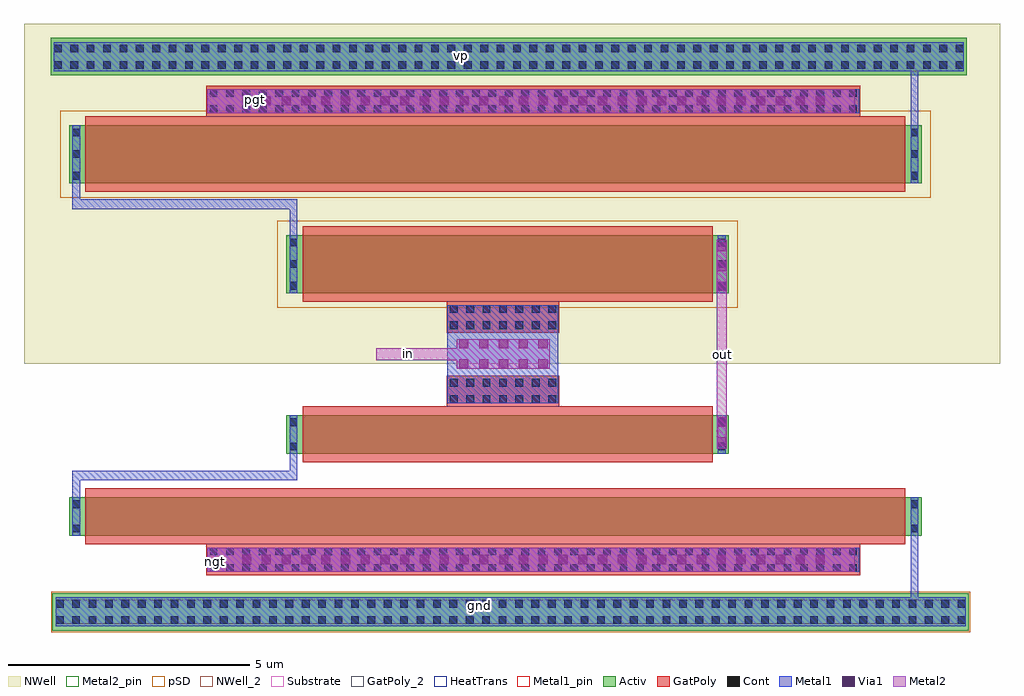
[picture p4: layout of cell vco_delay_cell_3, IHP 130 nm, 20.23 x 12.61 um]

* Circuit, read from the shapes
.subckt vco_delay_cell_3 gnd in ngt out pgt vp
XM1 gnd ngt n1 gnd sg13_lv_nmos w=0.8u l=17u
XM2 out in n1 gnd sg13_lv_nmos w=0.8u l=8.5u
XM3 vp pgt n2 vp sg13_lv_pmos w=1.2u l=17u
XM4 out in n2 vp sg13_lv_pmos w=1.2u l=8.5u
.ends

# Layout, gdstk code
from math import pi, radians
import gdstk
lib = gdstk.Library(unit=1e-6, precision=1e-09)
def R(c, l, rs):  # rectangles x0, y0, x1, y1
    for r in rs: c.add(gdstk.rectangle(r[:2], r[2:], *l))
def A(c, l, x, y, w, h, nx, ny, dx, dy):  # array of equal rectangles
    R(c, l, [(x+i*dx, y+j*dy, x+i*dx+w, y+j*dy+h) for i in range(nx) for j in range(ny)])
Activ = (1, 0)
GatPoly = (5, 0)
GatPoly_2 = (5, 2)
Cont = (6, 0)
Metal1 = (8, 0)
Metal1_pin = (8, 2)
Metal2 = (10, 0)
Metal2_pin = (10, 2)
pSD = (14, 0)
Via1 = (19, 0)
NWell = (31, 0)
NWell_2 = (31, 2)
Substrate = (40, 0)
HeatTrans = (51, 0)

nmos_6 = lib.new_cell('nmos$6')
R(nmos_6, Activ, [(0,0,0.3,0.3), (0,0,17.68,0.8), (17.38,0,17.68,0.3)])
R(nmos_6, GatPoly, [(0.34,-0.18,17.34,0.98)])
R(nmos_6, GatPoly_2, [(0.34,-0.18,17.34,0.98)])
R(nmos_6, Cont, [(0.07,0.07,0.23,0.23), (17.45,0.07,17.61,0.23), (0.07,0.57,0.23,0.73), (17.45,0.57,17.61,0.73)])
R(nmos_6, Metal1, [(0.07,0,0.23,0.8), (17.45,0,17.61,0.8)])
R(nmos_6, Metal1_pin, [(0.07,0,0.23,0.8), (17.45,0,17.61,0.8)])
R(nmos_6, HeatTrans, [(0.34,-0.18,17.34,0.98)])
nmos_6.add(gdstk.Label('nmos', (8.84,0.4), layer=63, texttype=0))
nmos_6.add(gdstk.Label('nmos', (8.84,0.4), layer=51, texttype=0))

via_7 = lib.new_cell('Via$7')
R(via_7, Metal1, [(-0.555,-0.105,0.555,0.105)])
R(via_7, Metal2, [(-0.555,-0.1,0.555,0.1)])
A(via_7, Via1, -0.505, -0.095, 0.19, 0.19, 3, 1, 0.41, 0)

via = lib.new_cell('Via')
R(via, GatPoly, [(-6.78,-0.32,6.78,0.32)])
A(via, Cont, -6.71, -0.25, 0.16, 0.16, 40, 2, 0.34, 0.34)
R(via, Metal1, [(-6.76,-0.25,6.76,0.25)])

pmos_6 = lib.new_cell('pmos$6')
R(pmos_6, Activ, [(0,0,0.3,0.3), (0,0,9.18,1.2), (8.88,0,9.18,0.3)])
R(pmos_6, GatPoly, [(0.34,-0.18,8.84,1.38), (0.34,-0.18,8.84,1.38)])
A(pmos_6, Cont, 0.07, 0.07, 0.16, 0.16, 1, 3, 0, 0.45)
A(pmos_6, Cont, 8.95, 0.07, 0.16, 0.16, 1, 3, 0, 0.45)
R(pmos_6, Metal1, [(0.07,0,0.23,1.2), (0.07,0,0.23,1.2), (8.95,0,9.11,1.2), (8.95,0,9.11,1.2)])
R(pmos_6, pSD, [(-0.18,-0.3,9.36,1.5)])
R(pmos_6, NWell, [(-0.31,-0.31,9.49,1.51)])
R(pmos_6, HeatTrans, [(0.34,-0.18,8.84,1.38)])
pmos_6.add(gdstk.Label('pmos', (4.59,0.6), layer=63, texttype=0))
pmos_6.add(gdstk.Label('pmos', (4.59,0.6), layer=51, texttype=0))

via_16 = lib.new_cell('Via$16')
R(via_16, Metal1, [(-6.09,-0.105,6.09,0.105)])
R(via_16, Metal2, [(-6.09,-0.1,6.09,0.1)])
A(via_16, Via1, -6.04, -0.095, 0.19, 0.19, 30, 1, 0.41, 0)

via_12 = lib.new_cell('Via$12')
R(via_12, GatPoly, [(-1.17,-0.32,1.17,0.32)])
A(via_12, Cont, -1.1, -0.25, 0.16, 0.16, 7, 2, 0.34, 0.34)
R(via_12, Metal1, [(-1.15,-0.25,1.15,0.25)])

nmos = lib.new_cell('nmos')
R(nmos, Activ, [(0,0,0.3,0.3), (0,0,9.18,0.8), (8.88,0,9.18,0.3)])
R(nmos, GatPoly, [(0.34,-0.18,8.84,0.98)])
R(nmos, GatPoly_2, [(0.34,-0.18,8.84,0.98)])
R(nmos, Cont, [(0.07,0.07,0.23,0.23), (8.95,0.07,9.11,0.23), (0.07,0.57,0.23,0.73), (8.95,0.57,9.11,0.73)])
R(nmos, Metal1, [(0.07,0,0.23,0.8), (8.95,0,9.11,0.8)])
R(nmos, Metal1_pin, [(0.07,0,0.23,0.8), (8.95,0,9.11,0.8)])
R(nmos, HeatTrans, [(0.34,-0.18,8.84,0.98)])
nmos.add(gdstk.Label('nmos', (4.59,0.4), layer=63, texttype=0))
nmos.add(gdstk.Label('nmos', (4.59,0.4), layer=51, texttype=0))

via_8 = lib.new_cell('Via$8')
R(via_8, Metal1, [(-0.965,-0.31,0.965,0.31)])
R(via_8, Metal2, [(-0.965,-0.305,0.965,0.305)])
A(via_8, Via1, -0.915, -0.3, 0.19, 0.19, 5, 2, 0.41, 0.41)

pmos = lib.new_cell('pmos')
R(pmos, Activ, [(0,0,0.3,0.3), (0,0,17.68,1.2), (17.38,0,17.68,0.3)])
R(pmos, GatPoly, [(0.34,-0.18,17.34,1.38), (0.34,-0.18,17.34,1.38)])
A(pmos, Cont, 0.07, 0.07, 0.16, 0.16, 1, 3, 0, 0.45)
A(pmos, Cont, 17.45, 0.07, 0.16, 0.16, 1, 3, 0, 0.45)
R(pmos, Metal1, [(0.07,0,0.23,1.2), (0.07,0,0.23,1.2), (17.45,0,17.61,1.2), (17.45,0,17.61,1.2)])
R(pmos, pSD, [(-0.18,-0.3,17.86,1.5)])
R(pmos, NWell, [(-0.31,-0.31,17.99,1.51)])
R(pmos, HeatTrans, [(0.34,-0.18,17.34,1.38)])
pmos.add(gdstk.Label('pmos', (8.84,0.6), layer=63, texttype=0))
pmos.add(gdstk.Label('pmos', (8.84,0.6), layer=51, texttype=0))

via_11 = lib.new_cell('Via$11')
R(via_11, Metal1, [(-0.35,-0.105,0.35,0.105)])
R(via_11, Metal2, [(-0.35,-0.1,0.35,0.1)])
R(via_11, Via1, [(-0.3,-0.095,-0.11,0.095), (0.11,-0.095,0.3,0.095)])

ptap1 = lib.new_cell('ptap1')
R(ptap1, Activ, [(0,0,19,0.78)])
A(ptap1, Cont, 0.07, 0.14, 0.16, 0.16, 56, 2, 0.34, 0.34)
R(ptap1, Metal1, [(0.07,0.09,18.93,0.69), (0.07,0.14,18.93,0.64)])
R(ptap1, Metal1_pin, [(0.07,0.14,18.93,0.64)])
R(ptap1, pSD, [(-0.03,-0.03,19.03,0.81)])
R(ptap1, Substrate, [(0,0,19,0.78)])
ptap1.add(gdstk.Label('sub!', (9.5,0.01), layer=63, texttype=0))
ptap1.add(gdstk.Label('sub!', (9.5,0.01), layer=40, texttype=0))

ntap1 = lib.new_cell('ntap1')
R(ntap1, Activ, [(0,0,19,0.78)])
A(ntap1, Cont, 0.07, 0.14, 0.16, 0.16, 56, 2, 0.34, 0.34)
R(ntap1, Metal1, [(0.07,0.09,18.93,0.69)])
R(ntap1, Metal1_pin, [(0.07,0.09,18.93,0.69), (0.07,0.14,18.93,0.64)])
R(ntap1, NWell, [(-0.24,-0.24,19.24,1.02), (0,0,19,0.78)])
R(ntap1, NWell_2, [(0,0,19,0.78)])
ntap1.add(gdstk.Label('well', (9.5,0.01), layer=63, texttype=0))
ntap1.add(gdstk.Label('well', (9.5,0.01), layer=31, texttype=0))

vco_delay_cell_3 = lib.new_cell('vco_delay_cell_3')
R(vco_delay_cell_3, Metal1, [(9.705,-5.195,9.865,-3.48), (-3.46,-4.32,-3.34,-3.82), (-3.34,-4.32,-3,-3.82), (-7.675,-2.77,-7.515,-2.22), (-7.675,-2.425,-3.015,-2.22), (-3.175,-2.35,-3.015,-1.64), (0.1,-0.82,2.4,1.21), (-3.175,2.615,-3.015,3.325), (-7.675,3.195,-7.515,3.745), (-7.675,3.195,-3.015,3.4), (9.705,4.455,9.865,6.17)])
R(vco_delay_cell_3, Metal1_pin, [(0.705,-5.08,0.835,-4.95), (0.335,6.315,0.465,6.445)])
R(vco_delay_cell_3, Metal2, [(-4.88,-4.32,-3.99,-3.82), (-4,-4.32,8.54,-3.82), (5.685,-1.76,5.885,0.57), (5.685,-0.16,5.885,1.48), (-1.38,0.07,0.95,0.32), (-4.88,5.19,-3.99,5.69), (-4,5.19,8.54,5.69)])
R(vco_delay_cell_3, Metal2_pin, [(-4.79,-4.18,-4.66,-4.05), (5.73,0.13,5.86,0.26), (-0.775,0.135,-0.645,0.265), (-3.945,5.41,-3.815,5.54)])
R(vco_delay_cell_3, NWell, [(-8.68,-0.005,11.555,7.04), (-1.56,0.29,2.98,5.31)])
vco_delay_cell_3.add(gdstk.Reference(nmos_6, (-7.745,-3.57)))
vco_delay_cell_3.add(gdstk.Reference(via_7, (5.785,2.01), rotation=pi/2))
vco_delay_cell_3.add(gdstk.Reference(via, (1.88,-4.07)))
vco_delay_cell_3.add(gdstk.Reference(pmos_6, (-3.245,1.46)))
vco_delay_cell_3.add(gdstk.Reference(via_16, (1.88,-4.065)))
vco_delay_cell_3.add(gdstk.Reference(via_12, (1.25,0.96)))
vco_delay_cell_3.add(gdstk.Reference(nmos, (-3.245,-1.87)))
vco_delay_cell_3.add(gdstk.Reference(via_12, (1.25,-0.57)))
vco_delay_cell_3.add(gdstk.Reference(via_8, (1.26,0.2)))
vco_delay_cell_3.add(gdstk.Reference(pmos, (-7.745,3.74)))
vco_delay_cell_3.add(gdstk.Reference(via_11, (5.785,-1.42), rotation=pi/2))
vco_delay_cell_3.add(gdstk.Reference(ptap1, (-8.09,-5.54)))
vco_delay_cell_3.add(gdstk.Reference(via, (1.88,5.44)))
vco_delay_cell_3.add(gdstk.Reference(ntap1, (-8.13,5.97)))
vco_delay_cell_3.add(gdstk.Reference(via_16, (1.88,5.445)))
vco_delay_cell_3.add(gdstk.Label('out', (5.795,0.18), layer=10, texttype=25))
vco_delay_cell_3.add(gdstk.Label('ngt', (-4.72,-4.11), layer=10, texttype=25))
vco_delay_cell_3.add(gdstk.Label('pgt', (-3.88,5.48), layer=10, texttype=25))
vco_delay_cell_3.add(gdstk.Label('in', (-0.71,0.2), layer=10, texttype=25))
vco_delay_cell_3.add(gdstk.Label('gnd', (0.77,-5.01), layer=8, texttype=25))
vco_delay_cell_3.add(gdstk.Label('vp', (0.4,6.38), layer=8, texttype=25))

lib.write_gds('vco_delay_cell_3.gds')
